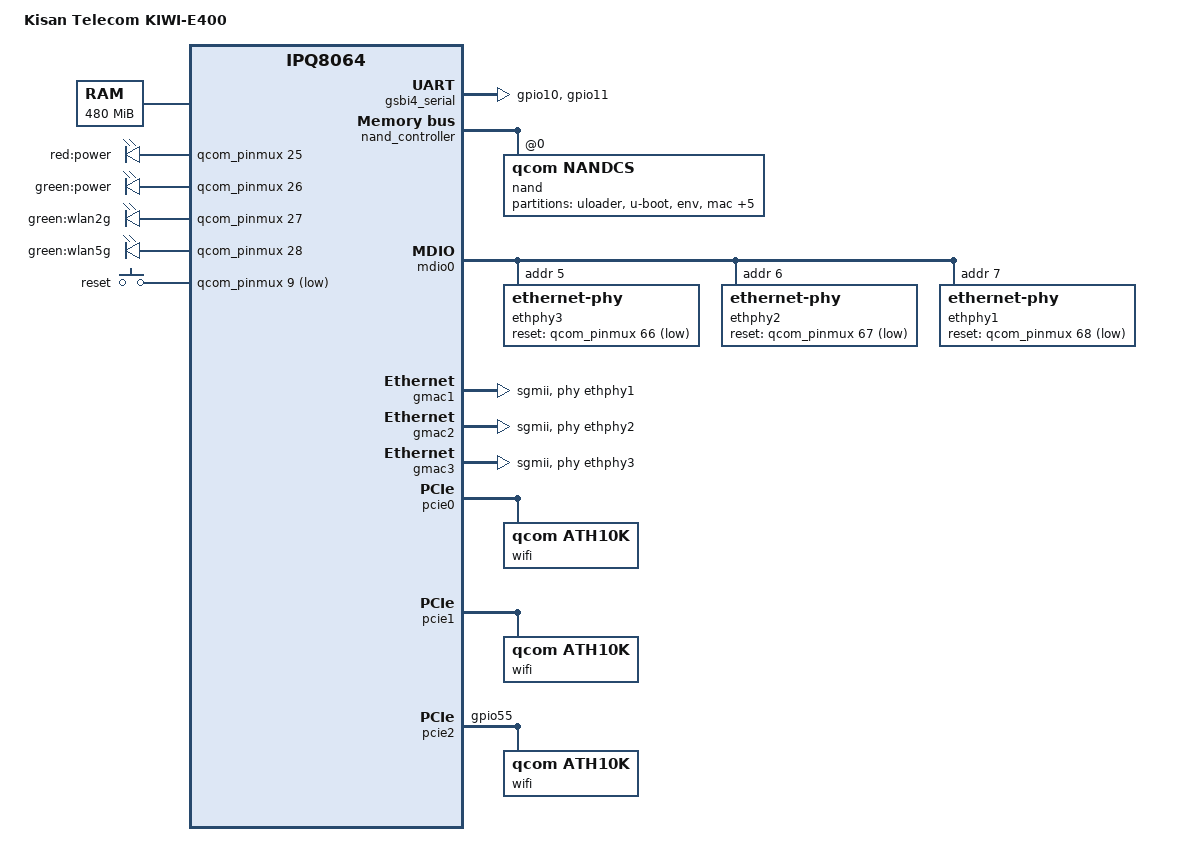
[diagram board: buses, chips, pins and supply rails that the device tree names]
// SPDX-License-Identifier: GPL-2.0-or-later OR MIT
#include "qcom-ipq8065.dtsi"

#include <dt-bindings/input/input.h>

/ {
	model = "Kisan Telecom KIWI-E400";
	compatible = "kisan,kiwi-e400", "qcom,ipq8065", "qcom,ipq8064";

	aliases {
		ethernet0 = &gmac1;
		ethernet1 = &gmac2;
		ethernet2 = &gmac3;

		led-boot = &led_power_green;
		led-failsafe = &led_power_red;
		led-running = &led_power_green;
		led-upgrade = &led_power_red;
		label-mac-device = &gmac1;
	};

	chosen {
		bootargs = "console=ttyMSM0,115200n8 earlycon";
		find-rootblock = "ubi.mtd=";
		append-rootblock = "ubi.mtd=";
	};

	memory@42000000 {
		device_type = "memory";
		reg = <0x42000000 0x1e000000>;
	};

	leds {
		compatible = "gpio-leds";
		pinctrl-0 = <&led_pins>;
		pinctrl-names = "default";

		led_power_red: power-red {
			label = "red:power";
			gpios = <&qcom_pinmux 25 GPIO_ACTIVE_HIGH>;
		};

		led_power_green: power-green {
			label = "green:power";
			gpios = <&qcom_pinmux 26 GPIO_ACTIVE_HIGH>;
		};

		wlan2g {
			label = "green:wlan2g";
			gpios = <&qcom_pinmux 27 GPIO_ACTIVE_HIGH>;
			linux,default-trigger = "phy1tpt";
		};

		wlan5g {
			label = "green:wlan5g";
			gpios = <&qcom_pinmux 28 GPIO_ACTIVE_HIGH>;
			linux,default-trigger = "phy0tpt";
		};
	};

	keys {
		compatible = "gpio-keys";
		pinctrl-0 = <&button_pins>;
		pinctrl-names = "default";

		reset {
			label = "reset";
			gpios = <&qcom_pinmux 9 GPIO_ACTIVE_LOW>;
			linux,code = <KEY_RESTART>;
		};
	};
};

&qcom_pinmux {
	led_pins: led_pins {
		mux {
			pins = "gpio25", "gpio26", "gpio27", "gpio28";
			function = "gpio";
			drive-strength = <2>;
			bias-pull-down;
		};
	};

	button_pins: button_pins {
		mux {
			pins = "gpio9";
			function = "gpio";
			drive-strength = <2>;
			bias-pull-up;
		};
	};

	uart_pins: uart_pins {
		mux {
			pins = "gpio10", "gpio11";
			function = "gsbi4";
			drive-strength = <12>;
			bias-disable;
		};
	};

	pcie2_pins_alt: pcie2_pins_alt {
		mux {
			pins = "gpio55";
			function = "gpio";
			drive-strength = <12>;
			bias-disable;
			output-low;
		};
	};
};

&gsbi4_serial {
	pinctrl-0 = <&uart_pins>;
	pinctrl-names = "default";
};

&rpm {
	pinctrl-0 = <&i2c4_pins>;
	pinctrl-names = "default";
};

&adm_dma {
	status = "okay";
};

&nand_controller {
	status = "okay";

	pinctrl-0 = <&nand_pins>;
	pinctrl-names = "default";

	nand@0 {
		reg = <0>;
		compatible = "qcom,nandcs";

		nand-ecc-strength = <4>;
		nand-bus-width = <8>;
		nand-ecc-step-size = <512>;

		partitions {
			compatible = "fixed-partitions";
			#address-cells = <1>;
			#size-cells = <1>;

			partition@0 {
				label = "uloader";
				reg = <0x0 0xc80000>;
				read-only;
			};

			partition@c80000 {
				label = "u-boot";
				reg = <0xc80000 0x80000>;
				read-only;
			};

			partition@d00000 {
				label = "env";
				reg = <0xd00000 0x40000>;
			};

			mac: partition@d40000 {
				label = "mac";
				reg = <0xd40000 0x40000>;
				read-only;
			};

			partition@d80000 {
				label = "cal0";
				reg = <0xd80000 0x80000>;
				read-only;
			};

			partition@e00000 {
				label = "cfg";
				reg = <0xe00000 0x100000>;
				read-only;
			};

			partition@f00000 {
				label = "img0";
				reg = <0xf00000 0x4000000>;
			};

			partition@4f00000 {
				label = "img1";
				reg = <0x4f00000 0x4000000>;
			};

			partition@8f00000 {
				label = "fs";
				reg = <0x8f00000 0x7100000>;
			};
		};
	};
};

&mdio0 {
	status = "okay";

	pinctrl-0 = <&mdio0_pins>;
	pinctrl-names = "default";

	ethphy3: ethernet-phy@5 {
		reg = <5>;
		reset-gpios = <&qcom_pinmux 66 GPIO_ACTIVE_LOW>;
	};

	ethphy2: ethernet-phy@6 {
		reg = <6>;
		reset-gpios = <&qcom_pinmux 67 GPIO_ACTIVE_LOW>;
	};

	ethphy1: ethernet-phy@7 {
		reg = <7>;
		reset-gpios = <&qcom_pinmux 68 GPIO_ACTIVE_LOW>;
	};
};

&gmac1 {
	status = "okay";

	qcom,id = <1>;
	phy-mode = "sgmii";
	phy-handle = <&ethphy1>;

	mtd-mac-address = <&mac 0x0>;
	mtd-mac-address-increment = <0>;
};

&gmac2 {
	status = "okay";

	qcom,id = <2>;
	phy-mode = "sgmii";
	phy-handle = <&ethphy2>;

	mtd-mac-address = <&mac 0x0>;
	mtd-mac-address-increment = <1>;
};

&gmac3 {
	status = "okay";

	qcom,id = <3>;
	phy-mode = "sgmii";
	phy-handle = <&ethphy3>;

	mtd-mac-address = <&mac 0x0>;
	mtd-mac-address-increment = <2>;
};

&pcie0 {
	status = "okay";

	bridge@0,0 {
		reg = <0x00000000 0 0 0 0>;
		#address-cells = <3>;
		#size-cells = <2>;
		ranges;

		wifi@1,0 {
			compatible = "qcom,ath10k";
			reg = <0x00010000 0 0 0 0>;
			qcom,ath10k-calibration-variant = "Kisan-KIWI-E400";
		};
	};
};

&pcie1 {
	status = "okay";

	bridge@0,0 {
		reg = <0x00000000 0 0 0 0>;
		#address-cells = <3>;
		#size-cells = <2>;
		ranges;

		wifi@1,0 {
			compatible = "qcom,ath10k";
			reg = <0x00010000 0 0 0 0>;
			qcom,ath10k-calibration-variant = "Kisan-KIWI-E400";
		};
	};
};

&pcie2 {
	status = "okay";

	pinctrl-0 = <&pcie2_pins_alt>;
	pinctrl-names = "default";
	perst-gpio = <&qcom_pinmux 55 GPIO_ACTIVE_LOW>;

	bridge@0,0 {
		reg = <0x00000000 0 0 0 0>;
		#address-cells = <3>;
		#size-cells = <2>;
		ranges;

		wifi@1,0 {
			compatible = "qcom,ath10k";
			reg = <0x00010000 0 0 0 0>;
			qcom,ath10k-calibration-variant = "Kisan-KIWI-E400";
		};
	};
};
